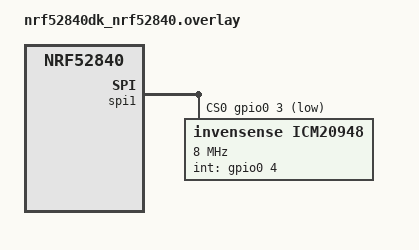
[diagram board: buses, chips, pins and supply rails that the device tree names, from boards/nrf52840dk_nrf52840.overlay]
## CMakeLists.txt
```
# SPDX-License-Identifier: Apache-2.0

cmake_minimum_required(VERSION 3.20.0)
find_package(Zephyr REQUIRED HINTS $ENV{ZEPHYR_BASE})
project(sensor_manager_sample)

# Include sensor manager library
target_include_directories(app PRIVATE ../../lib/src)

# Add driver include path for custom attributes
target_include_directories(app PRIVATE ../../drivers/sensor/icm20948)

# Add source files
target_sources(app PRIVATE 
    src/main.c
)
```

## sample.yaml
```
sample:
  name: Sensor Manager Sample
  description: Demonstrates the sensor manager library with multiple sensor devices
tests:
  sample.sensor_manager.basic:
    harness: console
    harness_config:
      type: multi_line
      regex:
        - "Sensor manager initialized successfully"
        - "Main loop iteration:"
    platform_allow: 
      - nrf52840dk_nrf52840
      - nrf52dk_nrf52832
      - stm32f4_disco
    tags: sensors
    depends_on:
      - sensor
      - spi
      - gpio
```

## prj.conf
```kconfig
# SPDX-License-Identifier: Apache-2.0

# Enable ROPODS drivers and libraries
CONFIG_ROPODS_DRIVERS=y
CONFIG_ROPODS_LIBRARIES=y

# Enable sensor manager
CONFIG_SENSOR_MANAGER=y

# Enable ICM20948 sensor
CONFIG_ICM20948=y

# Enable SPI for ICM20948
CONFIG_SPI=y

# Enable sensor subsystem
CONFIG_SENSOR=y

# Enable GPIO for interrupt support
CONFIG_GPIO=y

# Enable logging
CONFIG_LOG=y
CONFIG_LOG_DEFAULT_LEVEL=3
CONFIG_SENSOR_LOG_LEVEL_INF=y
CONFIG_SENSOR_MANAGER_LOG_LEVEL=3

# Enable trigger support
CONFIG_ICM20948_TRIGGER_GLOBAL_THREAD=y

# Enable threading
CONFIG_MULTITHREADING=y

# Memory configuration (optimized for BLE and quaternion data)
CONFIG_HEAP_MEM_POOL_SIZE=8192
CONFIG_MAIN_STACK_SIZE=4096
CONFIG_SYSTEM_WORKQUEUE_STACK_SIZE=2048

# Console support
CONFIG_CONSOLE=y
CONFIG_UART_CONSOLE=y

# Use nano libc for smaller footprint
CONFIG_NEWLIB_LIBC=y
CONFIG_NEWLIB_LIBC_NANO=y

# Optimize for nano libc
CONFIG_NEWLIB_LIBC_FLOAT_PRINTF=n
CONFIG_NEWLIB_LIBC_FLOAT_SCANF=n

# BLE Configuration
CONFIG_BT=y
CONFIG_BT_PERIPHERAL=y
CONFIG_BT_DEVICE_NAME="PPOD-Sensor"
CONFIG_BT_DEVICE_APPEARANCE=833
CONFIG_BT_MAX_CONN=1
CONFIG_BT_MAX_PAIRED=1

# BLE Device Information Service
CONFIG_BT_DIS=y
CONFIG_BT_DIS_MANUF_NAME=y
CONFIG_BT_DIS_MODEL_NUMBER=y
CONFIG_BT_DIS_MANUF_NAME_STR="ROPODS"
CONFIG_BT_DIS_MODEL_NUMBER_STR="PPOD v2.0"

# BLE Battery Service
CONFIG_BT_BAS=y

# BLE Security
CONFIG_BT_SMP=y
CONFIG_BT_PRIVACY=y

# BLE MTU size for larger data packets
CONFIG_BT_L2CAP_TX_MTU=247
CONFIG_BT_BUF_ACL_TX_SIZE=251
CONFIG_BT_BUF_ACL_RX_SIZE=502

# Additional memory for BLE
CONFIG_BT_RX_STACK_SIZE=2048

# ROPODS BLE Service
CONFIG_ROPODS_BLE_SERVICE=y
```

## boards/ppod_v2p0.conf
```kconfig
# Board-specific configuration for ppod_v2p0

# Memory optimization for ppod_v2p0 with nano libc
CONFIG_HEAP_MEM_POOL_SIZE=2048
CONFIG_MAIN_STACK_SIZE=1536
CONFIG_SYSTEM_WORKQUEUE_STACK_SIZE=1024

# Sensor manager configuration optimized for ppod_v2p0
CONFIG_SENSOR_MANAGER_MAX_DEVICES=4
CONFIG_SENSOR_MANAGER_DEFAULT_BUFFER_SIZE=32

# Use RTT console for ppod_v2p0 (more efficient)
CONFIG_RTT_CONSOLE=y
CONFIG_UART_CONSOLE=n

# Optimize logging for nano libc - use deferred mode for BLE compatibility
CONFIG_LOG_MODE_DEFERRED=y
CONFIG_LOG_BUFFER_SIZE=512
```

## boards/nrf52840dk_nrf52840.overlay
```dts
/*
 * Copyright (c) 2024 ROPODS
 * SPDX-License-Identifier: Apache-2.0
 *
 * ICM20948 overlay for Nordic nRF52840 DK
 */

/ {
	aliases {
		icm20948 = &icm20948;
	};
};

&spi1 {
	compatible = "nordic,nrf-spi";
	status = "okay";
	cs-gpios = <&gpio0 3 GPIO_ACTIVE_LOW>;
	pinctrl-0 = <&spi1_default>;
	pinctrl-1 = <&spi1_sleep>;
	pinctrl-names = "default", "sleep";

	icm20948: icm20948@0 {
		compatible = "invensense,icm20948";
		reg = <0>;
		spi-max-frequency = <8000000>;
		
		accel-range = <2>;    /* ±2g */
		gyro-range = <250>;   /* ±250 dps */
		
		/* INT pin connected to P0.04 */
		int-gpios = <&gpio0 4 GPIO_ACTIVE_HIGH>;
	};
};
```

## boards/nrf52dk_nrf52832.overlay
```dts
/*
 * Copyright (c) 2024 ROPODS
 * SPDX-License-Identifier: Apache-2.0
 *
 * ICM20948 overlay for Nordic nRF52 DK (nRF52832)
 */

/ {
	aliases {
		icm20948 = &icm20948;
	};
};

&spi1 {
	compatible = "nordic,nrf-spi";
	status = "okay";
	cs-gpios = <&gpio0 3 GPIO_ACTIVE_LOW>;
	pinctrl-0 = <&spi1_default>;
	pinctrl-1 = <&spi1_sleep>;
	pinctrl-names = "default", "sleep";

	icm20948: icm20948@0 {
		compatible = "invensense,icm20948";
		reg = <0>;
		spi-max-frequency = <8000000>;
		
		accel-range = <2>;    /* ±2g */
		gyro-range = <250>;   /* ±250 dps */
		
		/* INT pin connected to P0.04 */
		int-gpios = <&gpio0 4 GPIO_ACTIVE_HIGH>;
	};
};
```

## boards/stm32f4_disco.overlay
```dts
/*
 * Copyright (c) 2024 ROPODS
 * SPDX-License-Identifier: Apache-2.0
 *
 * ICM20948 overlay for STM32F4 Discovery
 */

/ {
	aliases {
		icm20948 = &icm20948;
	};
};

&spi1 {
	status = "okay";
	pinctrl-0 = <&spi1_sck_pa5 &spi1_miso_pa6 &spi1_mosi_pa7>;
	pinctrl-names = "default";
	cs-gpios = <&gpioa 4 GPIO_ACTIVE_LOW>;

	icm20948: icm20948@0 {
		compatible = "invensense,icm20948";
		reg = <0>;
		spi-max-frequency = <8000000>;
		
		accel-range = <2>;    /* ±2g */
		gyro-range = <250>;   /* ±250 dps */
		
		/* INT pin connected to PA8 */
		int-gpios = <&gpioa 8 GPIO_ACTIVE_HIGH>;
	};
};
```

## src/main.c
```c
/**
 * @file main.c
 * @brief Enhanced Sensor Manager Sample with BLE Quaternion Streaming
 * 
 * This sample demonstrates:
 * - Application-level buffer threshold callback system
 * - ICM20948 quaternion (9-axis) data acquisition 
 * - BLE streaming of quaternion + IMU data in 10-sample packets
 * - Real-time sensor data processing and transmission
 */

#include <zephyr/kernel.h>
#include <zephyr/device.h>
#include <zephyr/drivers/sensor.h>
#include <zephyr/logging/log.h>
#include <zephyr/sys/printk.h>
#include <zephyr/sys/util.h>

#include "sensor_manager.h"
#include "ropods_ble_service.h"
#include "icm20948.h"

LOG_MODULE_REGISTER(sensor_manager_sample, LOG_LEVEL_INF);

/* Sample configuration */
#define BUFFER_THRESHOLD_BYTES 512     /* Trigger callback when buffer has 512+ bytes */
#define MAX_READ_BYTES 512             /* Read up to 512 bytes per callback (more for quat data) */
#define MAX_CALLBACKS 100              /* Run longer for BLE streaming demo */
#define SAMPLES_PER_BLE_PACKET 10      /* Pack 10 samples per BLE transmission */

/* Application state */
static K_SEM_DEFINE(app_exit_sem, 0, 1);
static uint32_t buffer_callback_count = 0;
static bool ble_streaming_active = false;

/* BLE packet management */
static uint8_t ble_packet_buffer[sizeof(struct ropods_data_packet) + (SAMPLES_PER_BLE_PACKET * 11 * sizeof(float))];
static struct ropods_data_packet *current_ble_packet = (struct ropods_data_packet *)ble_packet_buffer;
static uint8_t samples_in_packet = 0;
static uint32_t total_samples_sent = 0;
static uint32_t total_packets_sent = 0;

/* Forward declarations */
static void buffer_threshold_callback(size_t available_bytes, void *user_data);
static void process_buffer_data(uint8_t *buffer, size_t bytes_read);
static int control_command_handler(const struct ropods_control_command *cmd, struct ropods_control_response *resp);
static int send_ble_packet_if_ready(void);
static void convert_sensor_value_to_float(const struct sensor_value *val, float *result);

/**
 * @brief Convert sensor_value to float for BLE transmission
 */
static void convert_sensor_value_to_float(const struct sensor_value *val, float *result)
{
	*result = (float)val->val1 + (float)val->val2 / 1000000.0f;
}

/**
 * @brief Send BLE packet when we have enough samples
 */
static int send_ble_packet_if_ready(void)
{
	if (samples_in_packet >= SAMPLES_PER_BLE_PACKET && ropods_ble_is_streaming()) {
		current_ble_packet->sample_count = samples_in_packet;
		
		/* Calculate packet size based on actual data */
		size_t packet_size = sizeof(struct ropods_data_packet) + 
				     samples_in_packet * 11 * sizeof(float); /* timestamp + quat + accel + gyro */
		
		int ret = ropods_ble_send_data_packet(current_ble_packet, packet_size);
		if (ret == 0) {
			total_packets_sent++;
			total_samples_sent += samples_in_packet;
			
			LOG_INF("Sent BLE packet %u with %d samples (total: %u samples)",
				total_packets_sent, samples_in_packet, total_samples_sent);
		} else {
			LOG_WRN("Failed to send BLE packet: %d", ret);
		}
		
		/* Reset packet for next batch */
		samples_in_packet = 0;
		current_ble_packet->packet_id++;
		
		return ret;
	}
	
	return 0;
}

/**
 * @brief Generic control command handler - supports attribute set/get and channel control
 */
static int control_command_handler(const struct ropods_control_command *cmd, struct ropods_control_response *resp)
{
	LOG_INF("Control command: 0x%02x, device=%d, channel/attr=0x%04x, value=%u", 
		cmd->command, cmd->device_id, cmd->channel_or_attr, cmd->value);
	
	/* Get the ICM20948 device for sensor operations */
	const struct device *icm_dev = DEVICE_DT_GET_ONE(invensense_icm20948);
	if (!device_is_ready(icm_dev)) {
		LOG_ERR("ICM20948 device not ready");
		return -ENODEV;
	}
	
	switch (cmd->command) {
	case ROPODS_CMD_CHANNEL_ENABLE:
		LOG_INF("Enable channel %d on device %d", cmd->channel_or_attr, cmd->device_id);
		if (cmd->device_id == 0 || cmd->device_id == 1) {
			int ret = sensor_manager_enable_channel(icm_dev, (enum sensor_channel)cmd->channel_or_attr);
			if (ret != SENSOR_MANAGER_OK) {
				LOG_ERR("Failed to enable channel: %d", ret);
				return -EIO;
			}
		}
		break;
		
	case ROPODS_CMD_CHANNEL_DISABLE:
		LOG_INF("Disable channel %d on device %d", cmd->channel_or_attr, cmd->device_id);
		if (cmd->device_id == 0 || cmd->device_id == 1) {
			int ret = sensor_manager_disable_channel(icm_dev, (enum sensor_channel)cmd->channel_or_attr);
			if (ret != SENSOR_MANAGER_OK) {
				LOG_ERR("Failed to disable channel: %d", ret);
				return -EIO;
			}
		}
		break;
		
	case ROPODS_CMD_SET_ATTRIBUTE:
		LOG_INF("Set attribute 0x%04x to %u on device %d", cmd->channel_or_attr, cmd->value, cmd->device_id);
		
		switch (cmd->channel_or_attr) {
		case ROPODS_ATTR_SAMPLE_RATE:
			LOG_INF("Setting sample rate to %u Hz", cmd->value);
			/* Set sample rate using sensor API */
			{
				struct sensor_value odr_val = {.val1 = cmd->value, .val2 = 0};
				int ret = sensor_attr_set(icm_dev, SENSOR_CHAN_ACCEL_XYZ, SENSOR_ATTR_SAMPLING_FREQUENCY, &odr_val);
				if (ret != 0) {
					LOG_ERR("Failed to set accel sample rate: %d", ret);
					return -EIO;
				}
				ret = sensor_attr_set(icm_dev, SENSOR_CHAN_GYRO_XYZ, SENSOR_ATTR_SAMPLING_FREQUENCY, &odr_val);
				if (ret != 0) {
					LOG_ERR("Failed to set gyro sample rate: %d", ret);
					return -EIO;
				}
			}
			break;
			
		case ROPODS_ATTR_FULL_SCALE_RANGE:
			LOG_INF("Setting full scale range to %u", cmd->value);
			/* Set full scale range using sensor API */
			{
				struct sensor_value fs_val = {.val1 = cmd->value, .val2 = 0};
				int ret = sensor_attr_set(icm_dev, SENSOR_CHAN_ACCEL_XYZ, SENSOR_ATTR_FULL_SCALE, &fs_val);
				if (ret != 0) {
					LOG_ERR("Failed to set accel full scale: %d", ret);
					return -EIO;
				}
				ret = sensor_attr_set(icm_dev, SENSOR_CHAN_GYRO_XYZ, SENSOR_ATTR_FULL_SCALE, &fs_val);
				if (ret != 0) {
					LOG_ERR("Failed to set gyro full scale: %d", ret);
					return -EIO;
				}
			}
			break;
			
		case ROPODS_ATTR_POWER_MODE:
			LOG_INF("Setting power mode to %u (not implemented)", cmd->value);
			/* Power mode setting would depend on sensor driver */
			break;
			
		default:
			LOG_WRN("Unknown attribute ID: 0x%04x", cmd->channel_or_attr);
			return -ENOTSUP;
		}
		break;
		
	case ROPODS_CMD_GET_ATTRIBUTE:
		LOG_INF("Get attribute 0x%04x from device %d", cmd->channel_or_attr, cmd->device_id);
		
		switch (cmd->channel_or_attr) {
		case ROPODS_ATTR_SAMPLE_RATE:
		{
			struct sensor_value odr_val;
			int ret = sensor_attr_get(icm_dev, SENSOR_CHAN_ACCEL_XYZ, SENSOR_ATTR_SAMPLING_FREQUENCY, &odr_val);
			if (ret == 0) {
				resp->value = (uint32_t)odr_val.val1;
				LOG_INF("Sample rate: %u Hz", resp->value);
			} else {
				LOG_ERR("Failed to get sample rate: %d", ret);
				return -EIO;
			}
		}
		break;
		
		case ROPODS_ATTR_FULL_SCALE_RANGE:
		{
			struct sensor_value fs_val;
			int ret = sensor_attr_get(icm_dev, SENSOR_CHAN_ACCEL_XYZ, SENSOR_ATTR_FULL_SCALE, &fs_val);
			if (ret == 0) {
				resp->value = (uint32_t)fs_val.val1;
				LOG_INF("Full scale range: %u", resp->value);
			} else {
				LOG_ERR("Failed to get full scale: %d", ret);
				return -EIO;
			}
		}
		break;
		
		default:
			LOG_WRN("Unknown attribute ID: 0x%04x", cmd->channel_or_attr);
			return -ENOTSUP;
		}
		break;
		
	case ROPODS_CMD_START_STREAMING:
		ble_streaming_active = true;
		LOG_INF("BLE streaming started by client");
		break;
		
	case ROPODS_CMD_STOP_STREAMING:
		ble_streaming_active = false;
		LOG_INF("BLE streaming stopped by client");
		break;
		
	case ROPODS_CMD_RESET_COUNTERS:
		total_samples_sent = 0;
		total_packets_sent = 0;
		current_ble_packet->packet_id = 0;
		LOG_INF("BLE counters reset by client");
		break;
		
	default:
		LOG_WRN("Unknown control command: 0x%02x", cmd->command);
		return -ENOTSUP;
	}
	
	return 0;
}

/**
 * @brief Buffer threshold callback - called when shared buffer exceeds threshold
 * 
 * This is the new application-level trigger mechanism that replaces device-level callbacks.
 * It's called when the shared buffer has more data than the configured threshold.
 */
static void buffer_threshold_callback(size_t available_bytes, void *user_data)
{
    buffer_callback_count++;
    
    LOG_INF("=== Buffer Threshold Callback #%u ===", buffer_callback_count);
    LOG_INF("Available bytes in shared buffer: %zu", available_bytes);
    
    /* Read data from the shared buffer */
    uint8_t *read_buffer = k_malloc(MAX_READ_BYTES);
    if (!read_buffer) {
        LOG_ERR("Failed to allocate read buffer");
        return;
    }
    
    size_t bytes_read;
    int ret = sensor_manager_read_buffer_bytes(read_buffer, MAX_READ_BYTES, &bytes_read);
    
    if (ret == SENSOR_MANAGER_OK && bytes_read > 0) {
        LOG_INF("Successfully read %zu bytes from shared buffer", bytes_read);
        
        /* Process the raw buffer data */
        process_buffer_data(read_buffer, bytes_read);
        
        /* Show remaining buffer size */
        size_t remaining = sensor_manager_get_buffer_data_available();
        LOG_INF("Remaining bytes in buffer: %zu", remaining);
    } else {
        LOG_WRN("Failed to read from buffer: %d, bytes_read: %zu", ret, bytes_read);
    }
    
    k_free(read_buffer);
    
    /* Exit application after enough callbacks */
    if (buffer_callback_count >= MAX_CALLBACKS) {
        LOG_INF("Reached maximum callbacks (%u), signaling exit", MAX_CALLBACKS);
        k_sem_give(&app_exit_sem);
    }
}

/**
 * @brief Process raw buffer data and extract quaternion + IMU data for BLE streaming
 * 
 * This function demonstrates parsing the compact sample format and converting
 * to the generic sensor data packet format for BLE transmission.
 */
static void process_buffer_data(uint8_t *buffer, size_t bytes_read)
{
	size_t offset = 0;
	uint32_t sample_count = 0;
	
	LOG_DBG("--- Processing Buffer Data for BLE Streaming ---");
	
	while (offset < bytes_read) {
		/* Make sure we have at least the header */
		if (offset + sizeof(struct sensor_sample_block) > bytes_read) {
			LOG_WRN("Incomplete sample header at offset %zu, stopping", offset);
			break;
		}
		
		struct sensor_sample_block *sample = (struct sensor_sample_block *)(buffer + offset);
		
		/* Only process ICM20948 data (device ID 1) */
		if (sample->device_id != 1) {
			LOG_DBG("Skipping non-ICM sample from device %d", sample->device_id);
			offset += sizeof(struct sensor_sample_block);
			/* Skip the data portion - we need to know the size for this device */
			continue;
		}
		
		LOG_DBG("Processing sample %u: Device ID %u, Location %u, Time Delta %u ms", 
		       ++sample_count, sample->device_id, sample->device_location, sample->time_delta);
		
		/* Initialize BLE packet if this is the first sample */
		if (samples_in_packet == 0) {
			current_ble_packet->device_id = sample->device_id;
			current_ble_packet->device_location = sample->device_location;
			current_ble_packet->data_format = 1; /* ICM20948 quaternion format */
			current_ble_packet->timestamp = k_uptime_get() * 1000; /* Convert to microseconds */
		}
		
		/* Move past the header */
		offset += sizeof(struct sensor_sample_block);
		
		/* For ICM20948, we expect 10 channels of quaternion + IMU data:
		 * - Game rotation vector quaternion (w, x, y, z) - 4 values
		 * - Accelerometer (x, y, z) - 3 values  
		 * - Gyroscope (x, y, z) - 3 values
		 * Total: 10 sensor_value structures = 40 floats in the BLE packet
		 */
		size_t expected_data_size = 10 * sizeof(struct sensor_value);
		
		if (offset + expected_data_size <= bytes_read && samples_in_packet < SAMPLES_PER_BLE_PACKET) {
			struct sensor_value *values = (struct sensor_value *)(buffer + offset);
			
			/* Calculate position in the BLE packet data array */
			/* Each sample contains 11 floats (timestamp + quat + accel + gyro) */
			size_t sample_data_offset = samples_in_packet * 11 * sizeof(float);
			float *sample_data = (float *)(current_ble_packet->data + sample_data_offset);
			
			/* Add timestamp as first value (converted to float) */
			sample_data[0] = (float)sample->time_delta;
			
			/* Extract quaternion data (next 4 values) */
			convert_sensor_value_to_float(&values[0], &sample_data[1]); /* quat_w */
			convert_sensor_value_to_float(&values[1], &sample_data[2]); /* quat_x */
			convert_sensor_value_to_float(&values[2], &sample_data[3]); /* quat_y */
			convert_sensor_value_to_float(&values[3], &sample_data[4]); /* quat_z */
			
			/* Extract accelerometer data (next 3 values) */
			convert_sensor_value_to_float(&values[4], &sample_data[5]); /* accel_x */
			convert_sensor_value_to_float(&values[5], &sample_data[6]); /* accel_y */
			convert_sensor_value_to_float(&values[6], &sample_data[7]); /* accel_z */
			
			/* Extract gyroscope data (last 3 values) */
			convert_sensor_value_to_float(&values[7], &sample_data[8]); /* gyro_x */
			convert_sensor_value_to_float(&values[8], &sample_data[9]); /* gyro_y */
			convert_sensor_value_to_float(&values[9], &sample_data[10]); /* gyro_z */
			
			samples_in_packet++;
			
			LOG_DBG("Added sample %d to BLE packet (quat: %.3f,%.3f,%.3f,%.3f)", 
			       samples_in_packet, sample_data[1], sample_data[2], sample_data[3], sample_data[4]);
		}
		
		/* Move to next sample */
		offset += expected_data_size;
		
		/* Send BLE packet if we have enough samples */
		if (ble_streaming_active) {
			send_ble_packet_if_ready();
		}
	}
	
	LOG_DBG("Processed %u samples, %d samples in current BLE packet", sample_count, samples_in_packet);
}

/**
 * @brief Setup and configure sensor devices
 */
static int setup_sensors(void)
{
    int ret;
    
    LOG_INF("Setting up sensor devices...");
    
    /* Initialize sensor manager */
    ret = sensor_manager_init();
    if (ret != SENSOR_MANAGER_OK) {
        LOG_ERR("Failed to initialize sensor manager: %d", ret);
        return ret;
    }
    
    LOG_INF("Sensor manager initialized successfully");
    
    /* Setup ICM20948 if available */
    const struct device *icm_dev = DEVICE_DT_GET_OR_NULL(DT_NODELABEL(icm20948));
    if (icm_dev) {
        if (device_is_ready(icm_dev)) {
            LOG_INF("ICM20948 device found and ready");
            
            /* Add device to sensor manager with device ID 1 and location 0 */
            ret = sensor_manager_add_device(icm_dev, 1, 0, false);
            if (ret == SENSOR_MANAGER_OK) {
                LOG_INF("Added ICM20948 to sensor manager (ID: 1, Location: 0)");
                
                /* Enable quaternion channels (game rotation vector: w, x, y, z) */
                sensor_manager_enable_channel(icm_dev, SENSOR_CHAN_ICM20948_GAME_ROTATION_VECTOR);
                LOG_INF("Enabled game rotation vector (quaternion) channel");
                
                /* Enable accelerometer channels */
                sensor_manager_enable_channel(icm_dev, SENSOR_CHAN_ACCEL_X);
                sensor_manager_enable_channel(icm_dev, SENSOR_CHAN_ACCEL_Y);
                sensor_manager_enable_channel(icm_dev, SENSOR_CHAN_ACCEL_Z);
                LOG_INF("Enabled accelerometer channels");
                
                /* Enable gyroscope channels */
                sensor_manager_enable_channel(icm_dev, SENSOR_CHAN_GYRO_X);
                sensor_manager_enable_channel(icm_dev, SENSOR_CHAN_GYRO_Y);
                sensor_manager_enable_channel(icm_dev, SENSOR_CHAN_GYRO_Z);
                LOG_INF("Enabled gyroscope channels");
                
                LOG_INF("ICM20948 setup complete - quaternion + 9-axis IMU data enabled");
            } else {
                LOG_ERR("Failed to add ICM20948 to sensor manager: %d", ret);
            }
        } else {
            LOG_WRN("ICM20948 device not ready");
        }
    } else {
        LOG_WRN("ICM20948 device not found");
    }
    
    /* Setup die temperature sensor if available */
    const struct device *temp_dev = DEVICE_DT_GET_OR_NULL(DT_NODELABEL(die_temp));
    if (temp_dev) {
        if (device_is_ready(temp_dev)) {
            LOG_INF("Die temperature sensor found and ready");
            
            /* Add device to sensor manager with device ID 2 and location 1 */
            ret = sensor_manager_add_device(temp_dev, 2, 1, false);
            if (ret == SENSOR_MANAGER_OK) {
                LOG_INF("Added die temperature sensor to sensor manager (ID: 2, Location: 1)");
                
                /* Enable temperature channel */
                sensor_manager_enable_channel(temp_dev, SENSOR_CHAN_DIE_TEMP);
                LOG_INF("Enabled die temperature channel");
                
                LOG_INF("Die temperature sensor setup complete");
            } else {
                LOG_ERR("Failed to add die temperature sensor to sensor manager: %d", ret);
            }
        } else {
            LOG_WRN("Die temperature sensor not ready");
        }
    } else {
        LOG_WRN("Die temperature sensor not found");
    }
    
    return SENSOR_MANAGER_OK;
}

/**
 * @brief Setup application-level buffer threshold callback
 */
static int setup_buffer_threshold_callback(void)
{
    int ret;
    
    LOG_INF("Setting up buffer threshold callback...");
    LOG_INF("Threshold: %u bytes, Max read: %u bytes", BUFFER_THRESHOLD_BYTES, MAX_READ_BYTES);
    
    /* Set up the application-level buffer threshold callback */
    ret = sensor_manager_set_buffer_threshold_callback(BUFFER_THRESHOLD_BYTES, 
                                                      buffer_threshold_callback, 
                                                      NULL);
    
    if (ret != SENSOR_MANAGER_OK) {
        LOG_ERR("Failed to set buffer threshold callback: %d", ret);
        return ret;
    }
    
    LOG_INF("Buffer threshold callback configured successfully");
    return SENSOR_MANAGER_OK;
}

/**
 * @brief Setup BLE service
 */
static int setup_ble_service(void)
{
    int ret;
    
    LOG_INF("Setting up BLE sensor service...");
    
    /* Initialize BLE service */
    ret = ropods_ble_service_init();
    if (ret != 0) {
        LOG_ERR("Failed to initialize BLE service: %d", ret);
        return ret;
    }
    
    /* Register control command callback */
    ropods_ble_register_control_callback(control_command_handler);
    
    /* Setup device information */
    struct ropods_device_info_entry sensors[] = {
        { .sensor_id = 1, .sensor_location = 0 },
        { .sensor_id = 2, .sensor_location = 1 }
    };
    uint8_t hw_rev = 1; // Example HW revision
    uint8_t fw_rev = 1; // Example FW revision
    ret = ropods_ble_update_device_info(sensors, ARRAY_SIZE(sensors), hw_rev, fw_rev);
    if (ret != 0) {
        LOG_ERR("Failed to update device info: %d", ret);
        return ret;
    }
    
    /* Start advertising */
    ret = ropods_ble_start_advertising("PPOD-Sensor");
    if (ret != 0) {
        LOG_ERR("Failed to start BLE advertising: %d", ret);
        return ret;
    }
    
    LOG_INF("BLE sensor service setup complete - advertising started");
    return 0;
}
static void cleanup_sensors(void)
{
    LOG_INF("Cleaning up sensors...");
    
    /* Stop data acquisition */
    sensor_manager_stop_acquisition_all();
    
    /* Deinitialize sensor manager */
    sensor_manager_deinit();
    
    LOG_INF("Sensor cleanup complete");
}

/**
 * @brief Main application function
 */
int main(void)
{
    int ret;
    
    printk("\n");
    printk("=====================================\n");
    printk("  Sensor Manager Sample Application  \n");
    printk("   New Buffer Threshold Callback API \n");
    printk("=====================================\n");
    printk("Build: %s %s\n", __DATE__, __TIME__);
    printk("\n");
    
    LOG_INF("Starting Sensor Manager Sample with Buffer Threshold Callbacks");
    
    /* Setup sensors */
    ret = setup_sensors();
    if (ret != SENSOR_MANAGER_OK) {
        LOG_ERR("Sensor setup failed: %d", ret);
        return -1;
    }
    
    /* Setup buffer threshold callback */
    ret = setup_buffer_threshold_callback();
    if (ret != SENSOR_MANAGER_OK) {
        LOG_ERR("Buffer threshold callback setup failed: %d", ret);
        cleanup_sensors();
        return -1;
    }
    
    /* Setup BLE service */
    ret = setup_ble_service();
    if (ret != 0) {
        LOG_ERR("BLE service setup failed: %d", ret);
        cleanup_sensors();
        return -1;
    }
    
    /* Register device pointers with BLE service */
    const struct device *icm20948 = DEVICE_DT_GET_ANY(invensense_icm20948);
    if (icm20948) {
        ropods_ble_register_device(icm20948, 1);
    }
    const struct device *die_temp = DEVICE_DT_GET_ANY(zephyr_temp_sensor);
    if (die_temp) {
        ropods_ble_register_device(die_temp, 2);
    }
    
    /* Start data acquisition for all configured devices */
    LOG_INF("Starting data acquisition for all devices...");
    ret = sensor_manager_start_acquisition_all(0); // Use 0 for default pool size logic
    if (ret != SENSOR_MANAGER_OK) {
        LOG_ERR("Failed to start acquisition: %d", ret);
        cleanup_sensors();
        return -1;
    }
    LOG_INF("Data acquisition started successfully");
    
    /* Application main loop - wait for buffer threshold callbacks */
    LOG_INF("Waiting for buffer threshold callbacks...");
    printk("Application will exit after %u buffer threshold callbacks\n", MAX_CALLBACKS);
    printk("Buffer threshold: %u bytes, Read size: %u bytes\n\n", 
           BUFFER_THRESHOLD_BYTES, MAX_READ_BYTES);
    
    /* Wait for the callback to signal completion */
    k_sem_take(&app_exit_sem, K_FOREVER);
    
    LOG_INF("All callbacks completed, exiting application");
    
    /* Cleanup and exit */
    cleanup_sensors();
    
    printk("\n");
    printk("=====================================\n");
    printk("     Sample Application Finished     \n");
    printk("=====================================\n");
    
    LOG_INF("Application finished successfully");
    return 0;
}
```

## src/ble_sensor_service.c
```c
/**
 * @file ble_sensor_service.c
 * @brief Implementation of BLE Service for streaming ICM20948 quaternion data
 */

#include "ble_sensor_service.h"
#include <zephyr/logging/log.h>
#include <zephyr/sys/byteorder.h>
#include <string.h>

LOG_MODULE_REGISTER(ble_sensor_service, LOG_LEVEL_INF);

/* Service state */
static struct {
	bool notifications_enabled;
	struct bt_conn *current_conn;
	int (*control_callback)(const struct control_command *cmd, struct control_response *resp);
	struct device_info device_info[8];  /* Support up to 8 devices */
	uint8_t device_count;
} service_state = {0};

/* Forward declarations */
static void connected(struct bt_conn *conn, uint8_t err);
static void disconnected(struct bt_conn *conn, uint8_t reason);
static void le_param_updated(struct bt_conn *conn, uint16_t interval,
			     uint16_t latency, uint16_t timeout);

/* Connection callbacks */
BT_CONN_CB_DEFINE(conn_callbacks) = {
	.connected = connected,
	.disconnected = disconnected,
	.le_param_updated = le_param_updated,
};

/* Characteristic value variables */
static struct control_command control_cmd = {0};
static struct control_response control_resp = {0};

/* CCC changed callback for data stream */
static void data_stream_ccc_changed(const struct bt_gatt_attr *attr, uint16_t value)
{
	service_state.notifications_enabled = (value == BT_GATT_CCC_NOTIFY);
	LOG_INF("Data stream notifications %s", 
		service_state.notifications_enabled ? "enabled" : "disabled");
}

/* Control characteristic write callback */
static ssize_t control_write(struct bt_conn *conn,
			    const struct bt_gatt_attr *attr,
			    const void *buf, uint16_t len, uint16_t offset,
			    uint8_t flags)
{
	if (len != sizeof(struct control_command)) {
		LOG_WRN("Invalid control command length: %d (expected %d)", len, sizeof(struct control_command));
		return BT_GATT_ERR(BT_ATT_ERR_INVALID_ATTRIBUTE_LEN);
	}

	memcpy(&control_cmd, buf, sizeof(control_cmd));
	
	LOG_INF("Control command received: cmd=0x%02x, device=%d, channel/attr=0x%04x, value=%u", 
		control_cmd.command, control_cmd.device_id, control_cmd.channel_or_attr, control_cmd.value);

	/* Initialize response */
	control_resp.command = control_cmd.command;
	control_resp.device_id = control_cmd.device_id;
	control_resp.status = 0; /* Success by default */
	control_resp.value = 0;

	/* Call registered callback if available */
	if (service_state.control_callback) {
		int ret = service_state.control_callback(&control_cmd, &control_resp);
		if (ret != 0) {
			control_resp.status = (uint8_t)(-ret); /* Convert error to positive status code */
		}
	} else {
		LOG_WRN("No control callback registered");
		control_resp.status = 1; /* Error: no handler */
	}

	LOG_DBG("Control response: status=%d, value=%u", control_resp.status, control_resp.value);
	return len;
}

/* Control characteristic read callback (returns last response) */
static ssize_t control_read(struct bt_conn *conn,
			   const struct bt_gatt_attr *attr,
			   void *buf, uint16_t len, uint16_t offset)
{
	return bt_gatt_attr_read(conn, attr, buf, len, offset, 
				&control_resp, sizeof(control_resp));
}

/* Device info descriptor read callback */
static ssize_t device_info_read(struct bt_conn *conn,
			       const struct bt_gatt_attr *attr,
			       void *buf, uint16_t len, uint16_t offset)
{
	/* Return device info array */
	size_t total_size = service_state.device_count * sizeof(struct device_info);
	return bt_gatt_attr_read(conn, attr, buf, len, offset, 
				service_state.device_info, total_size);
}

/* GATT service definition */
BT_GATT_SERVICE_DEFINE(ppod_sensor_svc,
	BT_GATT_PRIMARY_SERVICE(BT_UUID_PPOD_SENSOR_SERVICE),
	
	/* Data Stream Characteristic (Read/Notify) */
	BT_GATT_CHARACTERISTIC(BT_UUID_PPOD_DATA_STREAM,
			       BT_GATT_CHRC_READ | BT_GATT_CHRC_NOTIFY,
			       BT_GATT_PERM_READ,
			       NULL, NULL, NULL),
	BT_GATT_CCC(data_stream_ccc_changed, BT_GATT_PERM_READ | BT_GATT_PERM_WRITE),
	
	/* Control Characteristic (Read/Write) */
	BT_GATT_CHARACTERISTIC(BT_UUID_PPOD_CONTROL,
			       BT_GATT_CHRC_READ | BT_GATT_CHRC_WRITE,
			       BT_GATT_PERM_READ | BT_GATT_PERM_WRITE,
			       control_read, control_write, NULL),
	
	/* Device Info Descriptor (Read) */
	BT_GATT_DESCRIPTOR(BT_UUID_PPOD_DEVICE_INFO,
			   BT_GATT_PERM_READ,
			   device_info_read, NULL, NULL),
);

/* Advertising data */
static const struct bt_data ad[] = {
	BT_DATA_BYTES(BT_DATA_FLAGS, (BT_LE_AD_GENERAL | BT_LE_AD_NO_BREDR)),
	BT_DATA_BYTES(BT_DATA_UUID128_ALL, BT_UUID_PPOD_SENSOR_SERVICE_VAL),
	BT_DATA(BT_DATA_NAME_COMPLETE, CONFIG_BT_DEVICE_NAME, sizeof(CONFIG_BT_DEVICE_NAME) - 1),
};

/* Scan response data */
static const struct bt_data sd[] = {
	BT_DATA(BT_DATA_MANUFACTURER_DATA, "ROPODS", 6),
};

/* Connection event handlers */
static void connected(struct bt_conn *conn, uint8_t err)
{
	char addr[BT_ADDR_LE_STR_LEN];

	if (err) {
		LOG_ERR("Connection failed (err 0x%02x)", err);
		return;
	}

	bt_addr_le_to_str(bt_conn_get_dst(conn), addr, sizeof(addr));
	LOG_INF("Connected to %s", addr);

	service_state.current_conn = bt_conn_ref(conn);
}

static void disconnected(struct bt_conn *conn, uint8_t reason)
{
	char addr[BT_ADDR_LE_STR_LEN];

	bt_addr_le_to_str(bt_conn_get_dst(conn), addr, sizeof(addr));
	LOG_INF("Disconnected from %s (reason 0x%02x)", addr, reason);

	if (service_state.current_conn) {
		bt_conn_unref(service_state.current_conn);
		service_state.current_conn = NULL;
	}
	
	service_state.notifications_enabled = false;

	/* Restart advertising */
	ble_sensor_start_advertising();
}

static void le_param_updated(struct bt_conn *conn, uint16_t interval,
			     uint16_t latency, uint16_t timeout)
{
	LOG_INF("LE connection parameters updated: interval=%d, latency=%d, timeout=%d",
		interval, latency, timeout);
}

/* Public API implementation */
int ble_sensor_service_init(void)
{
	int err;

	/* Initialize Bluetooth */
	err = bt_enable(NULL);
	if (err) {
		LOG_ERR("Bluetooth init failed (err %d)", err);
		return err;
	}

	LOG_INF("BLE sensor service initialized");
	return 0;
}

int ble_sensor_start_advertising(void)
{
	int err;
	
	/* Advertising parameters */
	static const struct bt_le_adv_param adv_param = {
		.id = BT_ID_DEFAULT,
		.sid = 0,
		.secondary_max_skip = 0,
		.options = BT_LE_ADV_OPT_USE_IDENTITY,
		.interval_min = BT_GAP_ADV_FAST_INT_MIN_2,
		.interval_max = BT_GAP_ADV_FAST_INT_MAX_2,
		.peer = NULL,
	};
	
	err = bt_le_adv_start(&adv_param, ad, ARRAY_SIZE(ad), sd, ARRAY_SIZE(sd));
	if (err) {
		LOG_ERR("Advertising failed to start (err %d)", err);
		return err;
	}

	LOG_INF("BLE advertising started");
	return 0;
}

int ble_sensor_send_data_packet(const struct sensor_data_packet *packet, size_t packet_size)
{
	if (!service_state.current_conn || !service_state.notifications_enabled) {
		return -ENOTCONN;
	}

	/* Send notification */
	return bt_gatt_notify(service_state.current_conn, &ppod_sensor_svc.attrs[1],
			     packet, packet_size);
}

void ble_sensor_register_control_callback(int (*callback)(const struct control_command *cmd, struct control_response *resp))
{
	service_state.control_callback = callback;
	LOG_INF("Control callback registered");
}

int ble_sensor_update_device_info(const struct device_info *devices, uint8_t count)
{
	if (count > ARRAY_SIZE(service_state.device_info)) {
		LOG_WRN("Too many devices: %d (max %d)", count, ARRAY_SIZE(service_state.device_info));
		return -EINVAL;
	}

	memcpy(service_state.device_info, devices, count * sizeof(struct device_info));
	service_state.device_count = count;
	
	LOG_INF("Updated device info: %d devices", count);
	return 0;
}

bool ble_sensor_is_connected(void)
{
	return (service_state.current_conn != NULL && service_state.notifications_enabled);
}
```

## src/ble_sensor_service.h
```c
/**
 * @file ble_sensor_service.h
 * @brief BLE Service for streaming ICM20948 quaternion and sensor data
 * 
 * This service provides BLE characteristics for streaming:
 * - Quaternion data (w, x, y, z) from game rotation vector
 * - Raw accelerometer data (x, y, z)
 * - Raw gyroscope data (x, y, z)
 * - Combined 9-axis data packets with 10 samples per transmission
 */

#ifndef BLE_SENSOR_SERVICE_H
#define BLE_SENSOR_SERVICE_H

#include <zephyr/kernel.h>
#include <zephyr/bluetooth/bluetooth.h>
#include <zephyr/bluetooth/hci.h>
#include <zephyr/bluetooth/conn.h>
#include <zephyr/bluetooth/uuid.h>
#include <zephyr/bluetooth/gatt.h>
#include <zephyr/drivers/sensor.h>

#ifdef __cplusplus
extern "C" {
#endif

/* Custom UUID for PPOD Sensor Service */
#define BT_UUID_PPOD_SENSOR_SERVICE_VAL \
	BT_UUID_128_ENCODE(0x12345678, 0x1234, 0x5678, 0x1234, 0x56789abcdef0)

/* Custom UUIDs for characteristics */
#define BT_UUID_PPOD_DATA_STREAM_VAL \
	BT_UUID_128_ENCODE(0x12345678, 0x1234, 0x5678, 0x1234, 0x56789abcdef1)

#define BT_UUID_PPOD_CONTROL_VAL \
	BT_UUID_128_ENCODE(0x12345678, 0x1234, 0x5678, 0x1234, 0x56789abcdef2)

#define BT_UUID_PPOD_DEVICE_INFO_VAL \
	BT_UUID_128_ENCODE(0x12345678, 0x1234, 0x5678, 0x1234, 0x56789abcdef3)

#define BT_UUID_PPOD_SENSOR_SERVICE      BT_UUID_DECLARE_128(BT_UUID_PPOD_SENSOR_SERVICE_VAL)
#define BT_UUID_PPOD_DATA_STREAM         BT_UUID_DECLARE_128(BT_UUID_PPOD_DATA_STREAM_VAL)
#define BT_UUID_PPOD_CONTROL             BT_UUID_DECLARE_128(BT_UUID_PPOD_CONTROL_VAL)
#define BT_UUID_PPOD_DEVICE_INFO         BT_UUID_DECLARE_128(BT_UUID_PPOD_DEVICE_INFO_VAL)

/* Generic sensor data packet structure for streaming */
struct sensor_data_packet {
	uint32_t packet_id;          /**< Packet sequence number */
	uint8_t sample_count;        /**< Number of samples in this packet */
	uint8_t device_id;           /**< Source device ID */
	uint8_t device_location;     /**< Device location */
	uint8_t reserved;            /**< Reserved for alignment */
	uint8_t data[];              /**< Variable-length sensor data */
} __packed;

/* Device information structure */
struct device_info {
	uint8_t device_id;           /**< Device identifier */
	uint8_t device_location;     /**< Device location */
	uint8_t device_type;         /**< Device type (IMU, magnetometer, etc.) */
	uint8_t num_channels;        /**< Number of available channels */
	char device_name[16];        /**< Device name string */
} __packed;

/* Generic control command structure */
enum control_command_type {
	CTRL_CMD_CHANNEL_ENABLE = 0x01,      /**< Enable/disable sensor channel */
	CTRL_CMD_CHANNEL_DISABLE = 0x02,     /**< Disable sensor channel */
	CTRL_CMD_SET_ATTRIBUTE = 0x10,       /**< Set sensor attribute by ID */
	CTRL_CMD_GET_ATTRIBUTE = 0x11,       /**< Get sensor attribute by ID */
	CTRL_CMD_START_STREAMING = 0x20,     /**< Start data streaming */
	CTRL_CMD_STOP_STREAMING = 0x21,      /**< Stop data streaming */
	CTRL_CMD_RESET_COUNTERS = 0x22,      /**< Reset packet/sample counters */
};

/* Sensor attribute IDs */
enum sensor_attribute_id {
	ATTR_SAMPLE_RATE = 0x01,             /**< Sample rate in Hz (uint16_t) */
	ATTR_FULL_SCALE_RANGE = 0x02,        /**< Full scale range (uint16_t) */
	ATTR_POWER_MODE = 0x03,              /**< Power mode (uint8_t) */
	ATTR_FILTER_CONFIG = 0x04,           /**< Filter configuration (uint8_t) */
	ATTR_CALIBRATION_OFFSET = 0x05,      /**< Calibration offset (float) */
	ATTR_CALIBRATION_SCALE = 0x06,       /**< Calibration scale (float) */
	ATTR_TRIGGER_MODE = 0x07,            /**< Trigger mode (uint8_t) */
	ATTR_BUFFER_SIZE = 0x08,             /**< Buffer size (uint16_t) */
};

/* Control command structure */
struct control_command {
	uint8_t command;             /**< Command type from control_command_type */
	uint8_t device_id;           /**< Target device ID (0 = all devices) */
	uint16_t channel_or_attr;    /**< Channel ID or attribute ID */
	uint32_t value;              /**< Command value/parameter */
} __packed;

/* Control response structure */
struct control_response {
	uint8_t command;             /**< Original command type */
	uint8_t status;              /**< Response status (0=success, non-zero=error) */
	uint8_t device_id;           /**< Device ID */
	uint8_t reserved;            /**< Reserved for alignment */
	uint32_t value;              /**< Response value (for GET commands) */
} __packed;

/**
 * @brief Initialize the BLE sensor service
 * 
 * @return 0 on success, negative error code on failure
 */
int ble_sensor_service_init(void);

/**
 * @brief Start BLE advertising
 * 
 * @return 0 on success, negative error code on failure
 */
int ble_sensor_start_advertising(void);

/**
 * @brief Send sensor data packet via BLE notification
 * 
 * @param packet Pointer to the data packet to send
 * @param packet_size Size of the packet in bytes
 * @return 0 on success, negative error code on failure
 */
int ble_sensor_send_data_packet(const struct sensor_data_packet *packet, size_t packet_size);

/**
 * @brief Check if a client is connected and notifications are enabled
 * 
 * @return true if connected and ready to receive data, false otherwise
 */
bool ble_sensor_is_connected(void);

/**
 * @brief Register callback for control commands
 * 
 * @param callback Function to call when control commands are received
 */
void ble_sensor_register_control_callback(int (*callback)(const struct control_command *cmd, struct control_response *resp));

/**
 * @brief Update device information descriptor
 * 
 * @param devices Array of device information structures
 * @param count Number of devices
 * @return 0 on success, negative error code on failure
 */
int ble_sensor_update_device_info(const struct device_info *devices, uint8_t count);

#ifdef __cplusplus
}
#endif

#endif /* BLE_SENSOR_SERVICE_H */
```
